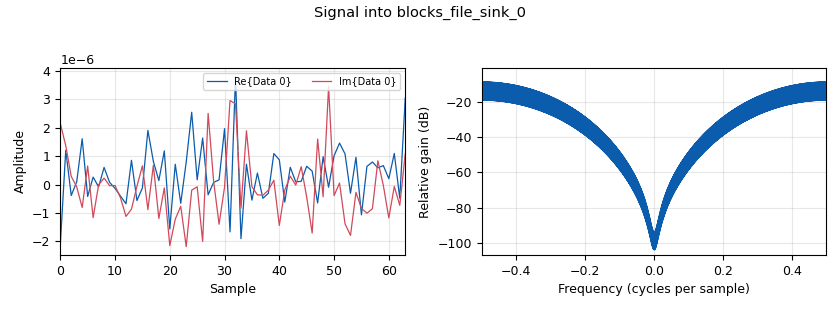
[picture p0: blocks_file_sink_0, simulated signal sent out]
<?xml version='1.0' encoding='utf-8'?>
<flow_graph>
<block>
<key>analog_sig_source_x</key>
<param><key>id</key><value>analog_sig_source_x_0</value></param>
<param><key>type</key><value>complex</value></param>
<param><key>samp_rate</key><value>samp_rate</value></param>
<param><key>waveform</key><value>analog.GR_COS_WAVE</value></param>
<param><key>freq</key><value>1000</value></param>
<param><key>amp</key><value>1</value></param>
<param><key>offset</key><value>0</value></param>
</block>
<block>
<key>variable</key>
<param><key>id</key><value>samp_rate</value></param>
<param><key>value</key><value>32000</value></param>
</block>
<block>
<key>blocks_stream_to_vector</key>
<param><key>id</key><value>blocks_stream_to_vector_0</value></param>
<param><key>type</key><value>complex</value></param>
<param><key>num_items</key><value>1024</value></param>
</block>
<block>
<key>fft_vxx</key>
<param><key>id</key><value>fft_vxx_0</value></param>
<param><key>type</key><value>complex</value></param>
<param><key>fft_size</key><value>1024</value></param>
<param><key>forward</key><value>True</value></param>
<param><key>window</key><value>window.blackmanharris(1024)</value></param>
<param><key>shift</key><value>True</value></param>
</block>
<block>
<key>blocks_vector_to_stream</key>
<param><key>id</key><value>blocks_vector_to_stream_0</value></param>
<param><key>type</key><value>complex</value></param>
<param><key>num_items</key><value>1024</value></param>
</block>
<block>
<key>blocks_file_sink</key>
<param><key>id</key><value>blocks_file_sink_0</value></param>
<param><key>file</key><value>/home/manu/comm-lab/flowgraphs/fft-out.bin</value></param>
<param><key>type</key><value>complex</value></param>
</block>
<block>
<key>options</key>
<param><key>id</key><value>top_block</value></param>
<param><key>generate_options</key><value>wx_gui</value></param>
<param><key>category</key><value>Custom</value></param>
</block>
<connection><source_block_id>analog_sig_source_x_0</source_block_id><sink_block_id>blocks_stream_to_vector_0</sink_block_id><source_key>0</source_key><sink_key>0</sink_key></connection>
<connection><source_block_id>blocks_stream_to_vector_0</source_block_id><sink_block_id>fft_vxx_0</sink_block_id><source_key>0</source_key><sink_key>0</sink_key></connection>
<connection><source_block_id>fft_vxx_0</source_block_id><sink_block_id>blocks_vector_to_stream_0</sink_block_id><source_key>0</source_key><sink_key>0</sink_key></connection>
<connection><source_block_id>blocks_vector_to_stream_0</source_block_id><sink_block_id>blocks_file_sink_0</sink_block_id><source_key>0</source_key><sink_key>0</sink_key></connection>
</flow_graph>
